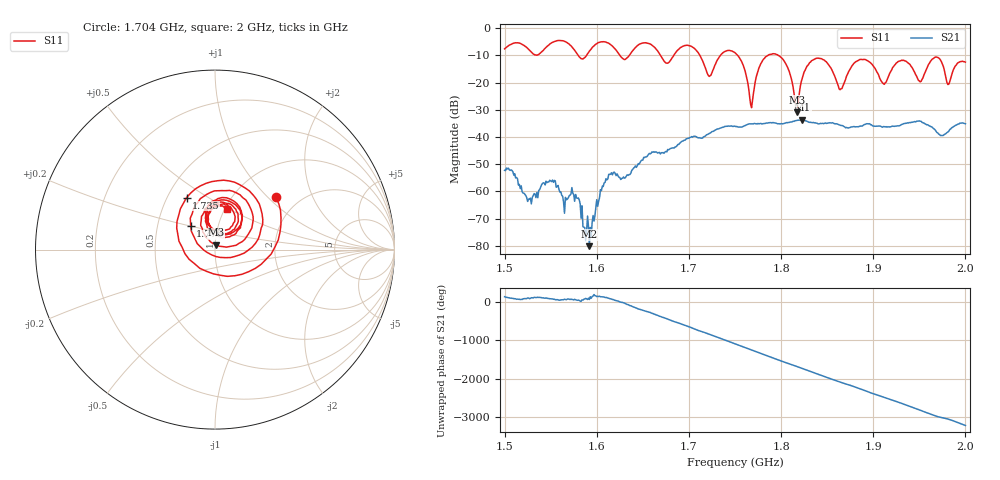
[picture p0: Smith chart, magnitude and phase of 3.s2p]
! NanoVNA-App by SYSJOINT et al v1.1.209 (+OD18)
! Date: 2026-01-21 14:48:15
! Start: 1,5GHz Stop: 2GHz Points: 501
! S-Parameter data: F S11 S21 S12 S22
# Hz S RI R 50
!  Frequency  S11_Real  S11_Imag  S21_Real  S21_Imag  S12_Real  S12_Imag  S22_Real  S22_Imag
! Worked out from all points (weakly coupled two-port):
!   501 points, 1.5 GHz to 2 GHz, reference 50 ohm
!   highest |S21| = -33.65 dB at 1.823 GHz (marker M1); lowest = -80.1 dB at 1.592 GHz (marker M2)
!   lowest |S11| = -31.0 dB at 1.817 GHz (marker M3), VSWR 1.06, Z = 50.6 + j2.79 ohm
!   |S11| at or under -10 dB: 1.712 GHz to 1.734 GHz (22.34 MHz wide, 1.3 % of centre); 1.753 GHz to 1.786 GHz (32.69 MHz wide, 1.85 % of centre); 1.797 GHz to end of sweep (the widest 3 of 6)
!   S12 and S22 are empty: the file has one direction only
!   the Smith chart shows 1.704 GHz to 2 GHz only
!   S11 on the Smith chart (normalised r, x): 1.704 GHz: 1.52, +1.12; 1.735 GHz: 0.62, +0.41; 1.776 GHz: 0.74, +0.20; 2 GHz: 1.02, +0.49
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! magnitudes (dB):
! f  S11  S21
! 1.5 GHz  -7.6  -52.2
! 1.527 GHz  -8.1  -62.9
! 1.553 GHz  -5.1  -56.6
! 1.584 GHz  -11.3  -65.3
! 1.592 GHz  -8.4  -80.1
! 1.614 GHz  -5.8  -53.7
! 1.667 GHz  -8.8  -45.7
! 1.704 GHz  -7.0  -40.0
! 1.722 GHz  -17.7  -38.7
! 1.735 GHz  -9.6  -36.6
! 1.75 GHz  -9.0  -36.0
! 1.768 GHz  -29.2  -35.1
! 1.776 GHz  -14.6  -35.1
! 1.8 GHz  -10.7  -35.1
! 1.817 GHz  -31.0  -33.9
! 1.823 GHz  -18.4  -33.7
! 1.834 GHz  -11.8  -34.7
! 1.864 GHz  -22.6  -35.6
! 1.885 GHz  -11.5  -36.1
! 1.917 GHz  -17.2  -36.3
! 1.982 GHz  -20.6  -37.9
! 2 GHz  -12.5  -35.1
